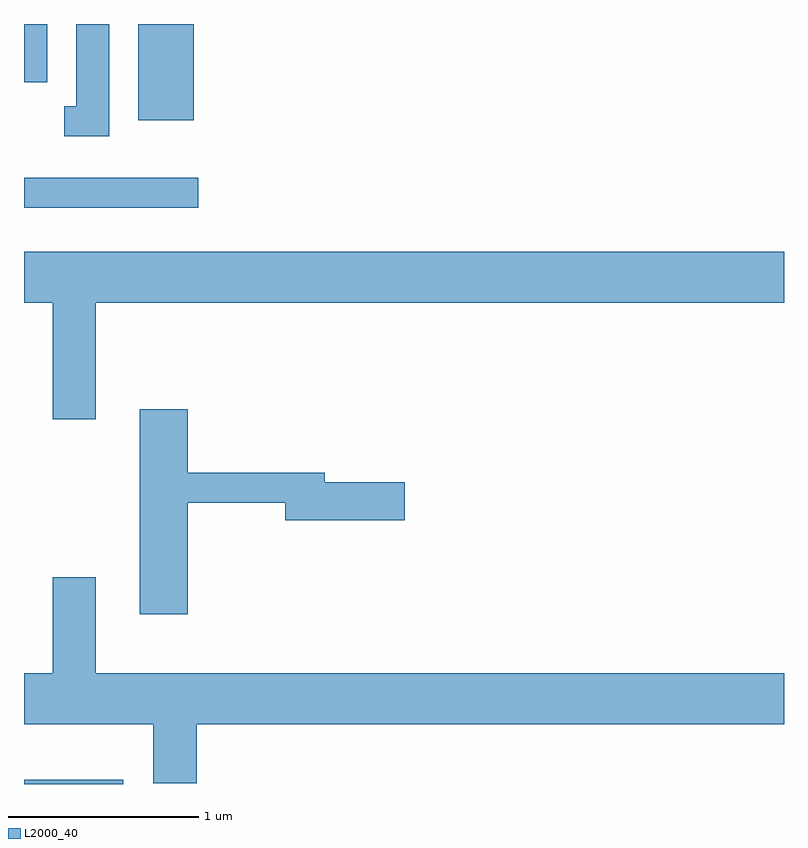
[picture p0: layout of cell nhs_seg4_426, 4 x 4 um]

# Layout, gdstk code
import gdstk
lib = gdstk.Library(unit=1e-6, precision=1e-09)
def R(c, l, rs):  # rectangles x0, y0, x1, y1
    for r in rs: c.add(gdstk.rectangle(r[:2], r[2:], *l))
def P(c, l, *ps):  # polygons
    for p in ps: c.add(gdstk.Polygon(p, *l))
L2000_40 = (2000, 40)

nhs_seg4_426 = lib.new_cell('nhs_seg4_426')
R(nhs_seg4_426, L2000_40, [(197.611,1289.982,198.134,1290.004), (197.611,1293.016,198.528,1293.174), (198.211,1293.476,198.504,1293.982), (197.611,1293.676,197.734,1293.982)])
P(nhs_seg4_426, L2000_40, [(198.059,1293.982),(197.886,1293.982),(197.886,1293.549),(197.823,1293.549),(197.823,1293.391),(198.059,1293.391)],
  [(197.989,1292.516),(201.611,1292.516),(201.611,1292.784),(197.611,1292.784),(197.611,1292.516),(197.761,1292.516),(197.761,1291.901),(197.989,1291.901)],
  [(198.474,1291.461),(198.986,1291.461),(198.986,1291.371),(199.614,1291.371),(199.614,1291.569),(199.194,1291.569),(199.194,1291.619),(198.474,1291.619),(198.474,1291.954),(198.221,1291.954),(198.221,1290.876),(198.474,1290.876)],
  [(198.519,1290.296),(201.611,1290.296),(201.611,1290.564),(197.989,1290.564),(197.989,1291.069),(197.761,1291.069),(197.761,1290.564),(197.611,1290.564),(197.611,1290.296),(198.291,1290.296),(198.291,1289.986),(198.519,1289.986)])

lib.write_gds('nhs_seg4_426.gds')
